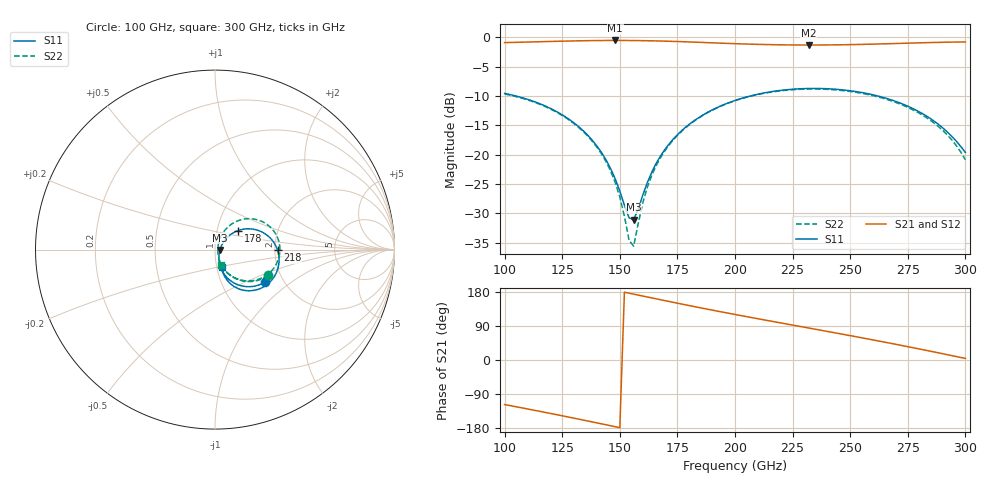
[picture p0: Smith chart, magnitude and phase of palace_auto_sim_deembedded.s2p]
! Created with skrf 1.11.0 (http://scikit-rf.org).
# GHz S DB R 50.0
!freq dBS11 angS11 dBS21 angS21 dBS12 angS12 dBS22 angS22
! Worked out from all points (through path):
!   101 points, 100 GHz to 300 GHz, reference 50 ohm
!   highest |S21| = -0.55 dB at 148 GHz (marker M1); lowest = -1.3 dB at 232 GHz (marker M2)
!   group delay of S21, straight-line fit = 3.29 ps
!   lowest |S11| = -31.1 dB at 156 GHz (marker M3), VSWR 1.06, Z = 52.9 - j0.166 ohm
!   |S11| at or under -10 dB: 104.7 GHz to 206.9 GHz (102.2 GHz wide, 65.6 % of centre); 261.8 GHz to end of sweep
!   |S22| runs from -35.6 to -8.8 dB; largest |S21 - S12| = 9.9e-14
!   S11 on the Smith chart (normalised r, x): 100 GHz: 1.61, -0.65; 178 GHz: 1.26, +0.28; 218 GHz: 2.07, -0.01; 300 GHz: 1.06, -0.21
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100  -9.58 -33.1  -0.92 -117.6  -0.92 -117.6  -9.67 -25.8
120  -12.16 -54.5  -0.72 -141.2  -0.72 -141.2  -12.26 -46.5
134  -15.89 -67.9  -0.60 -158.4  -0.60 -158.4  -16.04 -60.3
142  -19.62 -72.4  -0.56 -168.4  -0.56 -168.4  -19.86 -66.4
148  -24.14 -68.9  -0.55 -176.0  -0.55 -176.0  -24.75 -66.6
150  -26.23 -63.5  -0.55 -178.5  -0.55 -178.5  -27.23 -63.5
154  -30.77 -32.1  -0.56 176.4  -0.56 176.4  -34.59 -32.0
156  -31.13 -3.2  -0.57 173.8  -0.57 173.8  -35.62 16.7
160  -26.89 33.3  -0.59 168.7  -0.59 168.7  -28.18 59.9
162  -24.72 39.9  -0.60 166.2  -0.60 166.2  -25.49 64.1
168  -20.04 44.8  -0.65 158.6  -0.65 158.6  -20.31 65.0
178  -15.53 39.4  -0.78 146.2  -0.78 146.2  -15.62 57.5
188  -12.83 30.4  -0.92 134.2  -0.92 134.2  -12.88 47.8
200  -10.79 18.4  -1.10 120.2  -1.10 120.2  -10.82 35.4
218  -9.16 -0.5  -1.28 99.9  -1.28 99.9  -9.23 16.5
232  -8.74 -15.1  -1.33 84.4  -1.33 84.4  -8.84 1.9
234  -8.73 -17.2  -1.33 82.2  -1.33 82.2  -8.83 -0.2
252  -9.24 -35.8  -1.25 62.0  -1.25 62.0  -9.36 -19.0
268  -10.70 -51.8  -1.09 43.5  -1.09 43.5  -10.87 -36.2
288  -14.77 -68.4  -0.88 19.2  -0.88 19.2  -15.14 -57.9
294  -16.86 -70.6  -0.84 11.7  -0.84 11.7  -17.46 -64.2
300  -19.64 -68.6  -0.81 4.1  -0.81 4.1  -20.88 -69.5
